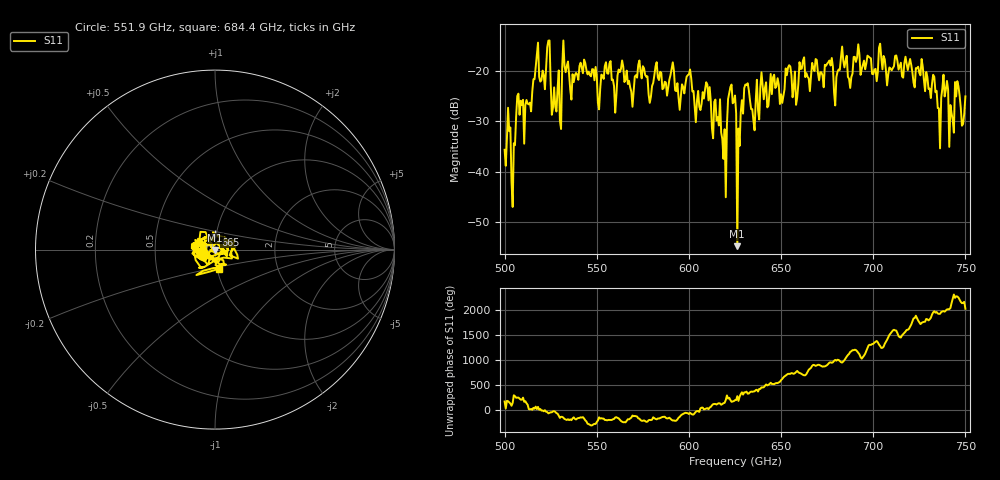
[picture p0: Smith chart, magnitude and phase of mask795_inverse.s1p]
!Created with skrf (http://scikit-rf.org).
# GHz S MA R 50.0
!freq magS11 angS11
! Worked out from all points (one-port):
!   401 points, 500 GHz to 750 GHz, reference 50 ohm
!   lowest |S11| = -54.8 dB at 626.2 GHz (marker M1), VSWR 1.00, Z = 50 - j0.178 ohm
!   |S11| at or under -10 dB: start of sweep to end of sweep
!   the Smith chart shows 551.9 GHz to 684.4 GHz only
!   S11 on the Smith chart (normalised r, x): 551.9 GHz: 0.88, -0.03; 665 GHz: 0.99, +0.17; 684.4 GHz: 1.02, -0.22
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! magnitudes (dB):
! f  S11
! 500 GHz  -35.6
! 505 GHz  -34.3
! 507.5 GHz  -24.5
! 511.9 GHz  -25.7
! 516.9 GHz  -19.2
! 523.8 GHz  -13.9
! 526.9 GHz  -23.2
! 531.2 GHz  -19.2
! 551.9 GHz  -23.4
! 562.5 GHz  -20.2
! 593.8 GHz  -22.4
! 610 GHz  -22.7
! 618.8 GHz  -37.4
! 623.8 GHz  -26.4
! 625 GHz  -24.8
! 626.2 GHz  -54.8
! 631.2 GHz  -22.8
! 635 GHz  -29.8
! 656.2 GHz  -25.2
! 665 GHz  -21.4
! 684.4 GHz  -19.2
! 687.5 GHz  -23.3
! 718.8 GHz  -19.8
! 735.6 GHz  -27.4
! 739.4 GHz  -23.8
! 742.5 GHz  -28.4
! 745.6 GHz  -22.0
! 750 GHz  -25.0
